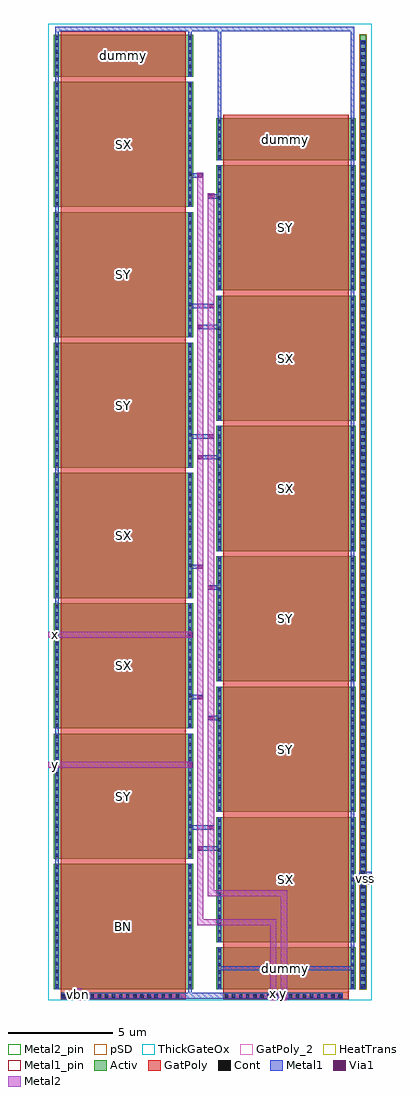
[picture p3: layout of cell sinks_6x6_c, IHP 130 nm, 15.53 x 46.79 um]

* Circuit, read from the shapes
.subckt sinks_6x6_c vbn vss x y
XM1 vbn vbn vss vss sg13_hv_nmos w=6u l=6u
XM2 y vbn vss vss sg13_hv_nmos w=6u l=6u m=6
XM3 x vbn vss vss sg13_hv_nmos w=6u l=6u m=6
XM4 vss vbn vss vss sg13_hv_nmos w=2u l=6u m=3
.ends

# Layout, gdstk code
import gdstk
lib = gdstk.Library(unit=1e-6, precision=1e-09)
def R(c, l, rs):  # rectangles x0, y0, x1, y1
    for r in rs: c.add(gdstk.rectangle(r[:2], r[2:], *l))
def A(c, l, x, y, w, h, nx, ny, dx, dy):  # array of equal rectangles
    R(c, l, [(x+i*dx, y+j*dy, x+i*dx+w, y+j*dy+h) for i in range(nx) for j in range(ny)])
Activ = (1, 0)
GatPoly = (5, 0)
GatPoly_2 = (5, 2)
Cont = (6, 0)
Metal1 = (8, 0)
Metal1_pin = (8, 2)
Metal2 = (10, 0)
Metal2_pin = (10, 2)
pSD = (14, 0)
Via1 = (19, 0)
ThickGateOx = (44, 0)
HeatTrans = (51, 0)

nmoshv = lib.new_cell('nmosHV')
R(nmoshv, Activ, [(0,0,0.3,0.3), (0,0,6.68,6), (6.38,0,6.68,0.3)])
R(nmoshv, GatPoly, [(0.34,-0.18,6.34,6.18)])
R(nmoshv, GatPoly_2, [(0.34,-0.18,6.34,6.18)])
A(nmoshv, Cont, 0.07, 0.07, 0.16, 0.16, 1, 4, 0, 0.355)
A(nmoshv, Cont, 6.45, 0.07, 0.16, 0.16, 1, 4, 0, 0.355)
A(nmoshv, Cont, 0.07, 1.495, 0.16, 0.16, 1, 4, 0, 0.355)
A(nmoshv, Cont, 6.45, 1.495, 0.16, 0.16, 1, 4, 0, 0.355)
A(nmoshv, Cont, 0.07, 2.92, 0.16, 0.16, 1, 4, 0, 0.355)
A(nmoshv, Cont, 6.45, 2.92, 0.16, 0.16, 1, 4, 0, 0.355)
A(nmoshv, Cont, 0.07, 4.345, 0.16, 0.16, 1, 4, 0, 0.355)
A(nmoshv, Cont, 6.45, 4.345, 0.16, 0.16, 1, 4, 0, 0.355)
R(nmoshv, Cont, [(0.07,5.77,0.23,5.93), (6.45,5.77,6.61,5.93)])
R(nmoshv, Metal1, [(0.07,0,0.23,6), (6.45,0,6.61,6)])
R(nmoshv, Metal1_pin, [(0.07,0,0.23,6), (6.45,0,6.61,6)])
R(nmoshv, ThickGateOx, [(-0.27,-0.52,6.95,6.52)])
R(nmoshv, HeatTrans, [(0.34,-0.18,6.34,6.18)])
nmoshv.add(gdstk.Label('nmosHV', (3.34,3), layer=63, texttype=0))
nmoshv.add(gdstk.Label('nmosHV', (3.34,3), layer=51, texttype=0))

nmoshv_12 = lib.new_cell('nmosHV$12')
R(nmoshv_12, Activ, [(0,0,0.3,0.3), (0,0,6.68,2), (6.38,0,6.68,0.3)])
R(nmoshv_12, GatPoly, [(0.34,-0.18,6.34,2.18)])
R(nmoshv_12, GatPoly_2, [(0.34,-0.18,6.34,2.18)])
A(nmoshv_12, Cont, 0.07, 0.07, 0.16, 0.16, 1, 6, 0, 0.34)
A(nmoshv_12, Cont, 6.45, 0.07, 0.16, 0.16, 1, 6, 0, 0.34)
R(nmoshv_12, Metal1, [(0.07,0,0.23,2), (6.45,0,6.61,2)])
R(nmoshv_12, Metal1_pin, [(0.07,0,0.23,2), (6.45,0,6.61,2)])
R(nmoshv_12, ThickGateOx, [(-0.27,-0.52,6.95,2.52)])
R(nmoshv_12, HeatTrans, [(0.34,-0.18,6.34,2.18)])
nmoshv_12.add(gdstk.Label('nmosHV', (3.34,1), layer=63, texttype=0))
nmoshv_12.add(gdstk.Label('nmosHV', (3.34,1), layer=51, texttype=0))

sinks_6x6_c = lib.new_cell('sinks_6x6_c')
R(sinks_6x6_c, Activ, [(14.955,0.52,15.255,46.27)])
R(sinks_6x6_c, GatPoly, [(0.61,0.045,6.61,0.52), (8.405,0.045,14.405,0.52)])
A(sinks_6x6_c, Cont, 0.68, 0.115, 0.16, 0.16, 17, 1, 0.34, 0)
A(sinks_6x6_c, Cont, 8.475, 0.115, 0.16, 0.16, 17, 1, 0.34, 0)
A(sinks_6x6_c, Cont, 15.025, 0.59, 0.16, 0.16, 1, 134, 0, 0.34)
R(sinks_6x6_c, Metal1, [(0.63,0.05,14.125,0.34), (6.72,0.05,6.88,0.52), (0.34,0.52,0.5,46.66), (14.515,0.52,14.675,46.66), (14.975,0.54,15.235,46.02), (8.135,1.42,14.675,1.62), (14.925,5.54,15.525,6.14), (14.515,5.74,15.025,5.95), (7.155,7.165,8.295,7.375), (6.72,8.165,7.955,8.375), (6.695,11.125,6.905,11.415), (7.665,13.415,8.295,13.625), (6.72,14.415,7.445,14.625), (6.695,17.375,6.905,17.665), (7.665,19.665,8.295,19.875), (6.72,20.665,7.445,20.875), (7.155,25.915,8.295,26.125), (6.72,26.915,7.955,27.125), (7.155,32.165,8.295,32.375), (6.72,33.165,7.955,33.375), (7.665,38.415,8.295,38.625), (6.72,39.415,7.445,39.625), (8.135,40.27,8.295,46.66), (6.72,44.27,6.88,46.66), (0.34,46.45,14.675,46.66)])
R(sinks_6x6_c, Metal1_pin, [(14.925,5.54,15.525,6.14)])
R(sinks_6x6_c, Metal2, [(1.325,0,1.615,0.57), (10.655,0,10.945,3.865), (11.165,0,11.455,5.265), (7.155,3.575,7.445,39.665), (7.155,3.575,10.945,3.865), (7.665,4.975,11.455,5.265), (7.665,4.975,7.955,38.665), (0,11.125,6.945,11.415), (0,17.375,6.945,17.665)])
R(sinks_6x6_c, Metal2_pin, [(1.325,0,1.615,0.57), (10.655,0,10.945,0.6), (11.165,0,11.455,0.6), (0,11.125,0.7,11.415), (0,17.375,0.7,17.665)])
R(sinks_6x6_c, pSD, [(14.925,0.49,15.285,46.3)])
R(sinks_6x6_c, Via1, [(1.375,0.1,1.565,0.29), (7.205,7.175,7.395,7.365), (7.715,8.175,7.905,8.365), (6.705,11.175,6.895,11.365), (7.715,13.425,7.905,13.615), (7.205,14.425,7.395,14.615), (6.705,17.425,6.895,17.615), (7.715,19.675,7.905,19.865), (7.205,20.675,7.395,20.865), (7.205,25.925,7.395,26.115), (7.715,26.925,7.905,27.115), (7.205,32.175,7.395,32.365), (7.715,33.175,7.905,33.365), (7.715,38.425,7.905,38.615), (7.205,39.425,7.395,39.615)])
R(sinks_6x6_c, ThickGateOx, [(0,0,15.525,46.79), (8.065,0,15.525,46.79)])
sinks_6x6_c.add(gdstk.Reference(nmoshv, (0.27,0.52)))
sinks_6x6_c.add(gdstk.Reference(nmoshv, (0.27,6.77)))
sinks_6x6_c.add(gdstk.Reference(nmoshv, (0.27,13.02)))
sinks_6x6_c.add(gdstk.Reference(nmoshv, (0.27,19.27)))
sinks_6x6_c.add(gdstk.Reference(nmoshv, (0.27,25.52)))
sinks_6x6_c.add(gdstk.Reference(nmoshv, (0.27,31.77)))
sinks_6x6_c.add(gdstk.Reference(nmoshv, (0.27,38.02)))
sinks_6x6_c.add(gdstk.Reference(nmoshv_12, (0.27,44.27)))
sinks_6x6_c.add(gdstk.Reference(nmoshv_12, (8.065,0.52)))
sinks_6x6_c.add(gdstk.Reference(nmoshv, (8.065,2.77)))
sinks_6x6_c.add(gdstk.Reference(nmoshv, (8.065,9.02)))
sinks_6x6_c.add(gdstk.Reference(nmoshv, (8.065,15.27)))
sinks_6x6_c.add(gdstk.Reference(nmoshv, (8.065,21.52)))
sinks_6x6_c.add(gdstk.Reference(nmoshv, (8.065,27.77)))
sinks_6x6_c.add(gdstk.Reference(nmoshv, (8.065,34.02)))
sinks_6x6_c.add(gdstk.Reference(nmoshv_12, (8.065,40.27)))
sinks_6x6_c.add(gdstk.Label('BN', (3.61,3.52), layer=63, texttype=0))
sinks_6x6_c.add(gdstk.Label('SY', (3.61,9.77), layer=63, texttype=0))
sinks_6x6_c.add(gdstk.Label('SX', (3.61,16.02), layer=63, texttype=0))
sinks_6x6_c.add(gdstk.Label('SX', (3.61,22.27), layer=63, texttype=0))
sinks_6x6_c.add(gdstk.Label('SY', (3.61,28.52), layer=63, texttype=0))
sinks_6x6_c.add(gdstk.Label('SY', (3.61,34.77), layer=63, texttype=0))
sinks_6x6_c.add(gdstk.Label('SX', (3.61,41.02), layer=63, texttype=0))
sinks_6x6_c.add(gdstk.Label('dummy', (3.61,45.27), layer=63, texttype=0))
sinks_6x6_c.add(gdstk.Label('dummy', (11.405,1.52), layer=63, texttype=0))
sinks_6x6_c.add(gdstk.Label('SX', (11.405,5.77), layer=63, texttype=0))
sinks_6x6_c.add(gdstk.Label('SY', (11.405,12.02), layer=63, texttype=0))
sinks_6x6_c.add(gdstk.Label('SY', (11.405,18.27), layer=63, texttype=0))
sinks_6x6_c.add(gdstk.Label('SX', (11.405,24.52), layer=63, texttype=0))
sinks_6x6_c.add(gdstk.Label('SX', (11.405,30.77), layer=63, texttype=0))
sinks_6x6_c.add(gdstk.Label('SY', (11.405,37.02), layer=63, texttype=0))
sinks_6x6_c.add(gdstk.Label('dummy', (11.405,41.27), layer=63, texttype=0))
sinks_6x6_c.add(gdstk.Label('vss', (15.225,5.84), layer=8, texttype=25))
sinks_6x6_c.add(gdstk.Label('vbn', (1.47,0.285), layer=10, texttype=25))
sinks_6x6_c.add(gdstk.Label('x', (0.35,17.52), layer=10, texttype=25))
sinks_6x6_c.add(gdstk.Label('y', (0.35,11.27), layer=10, texttype=25))
sinks_6x6_c.add(gdstk.Label('x', (10.8,0.3), layer=10, texttype=25))
sinks_6x6_c.add(gdstk.Label('y', (11.31,0.3), layer=10, texttype=25))

lib.write_gds('sinks_6x6_c.gds')
